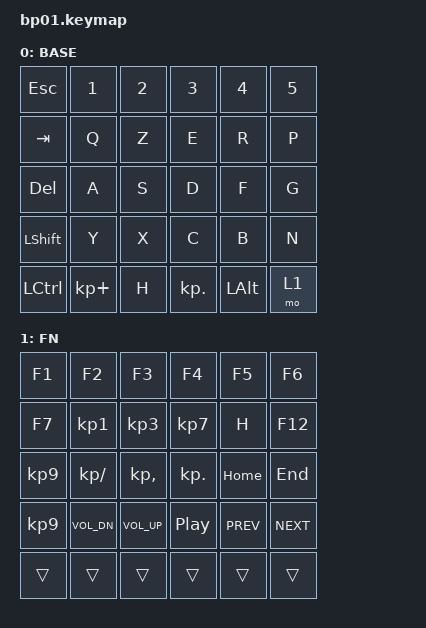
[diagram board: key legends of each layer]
#include <behaviors.dtsi>
#include <dt-bindings/zmk/keys.h>
#include <dt-bindings/zmk/bt.h>

/ {
    keymap {
        compatible = "zmk,keymap";

        BASE {
            bindings = <
                &kp ESC   &kp N1    &kp N2    &kp N3    &kp N4    &kp N5
                &kp TAB   &kp Q     &kp Z     &kp E     &kp R     &kp P
                &kp DEL   &kp A     &kp S     &kp D     &kp F     &kp G
                &kp LSHFT &kp Y     &kp X     &kp C     &kp B     &kp N
                &kp LCTRL &kp KP_PLUS &kp H   &kp KP_DOT &kp LALT &mo 1
            >;
        };

        FN {
            bindings = <
                &kp F1    &kp F2    &kp F3    &kp F4    &kp F5    &kp F6
                &kp F7    &kp KP_N1 &kp KP_N3 &kp KP_N7 &kp H   &kp F12
                &kp KP_N9  &kp KP_DIVIDE  &kp KP_COMMA    &kp KP_DOT &kp HOME  &kp END
                &kp KP_N9 &kp C_VOL_DN &kp C_VOL_UP &kp C_PLAY_PAUSE &kp C_PREV &kp C_NEXT
                &trans    &trans    &trans    &trans    &trans     &trans
            >;
        };
    };
};
